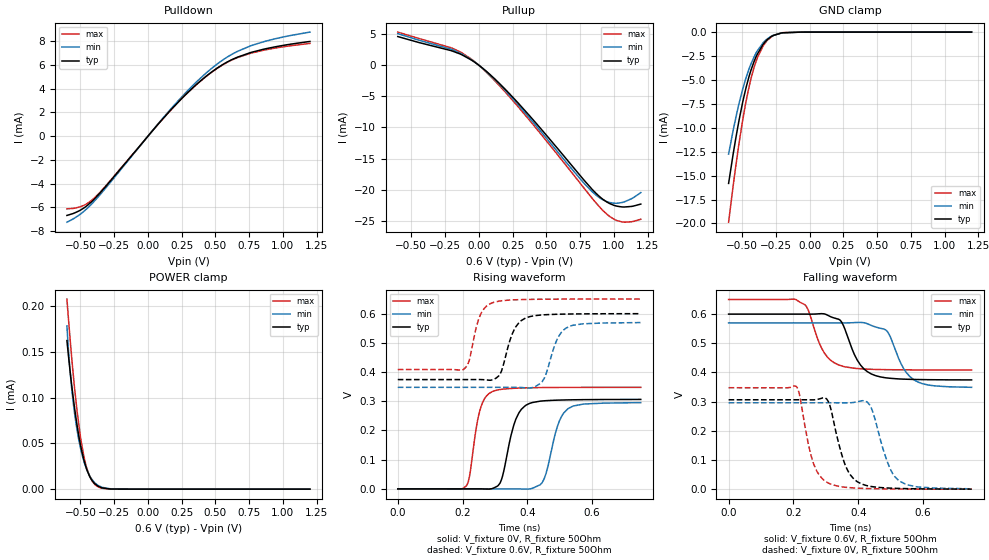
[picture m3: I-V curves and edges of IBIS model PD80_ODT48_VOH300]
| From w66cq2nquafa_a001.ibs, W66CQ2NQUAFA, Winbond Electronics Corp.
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[Model]   PD80_ODT48_VOH300
Model_type   I/O
Polarity   Non-Inverting
Enable   Active-Low
Vinl = 0.08
Vinh = 0.22
Vmeas = 0.15
Vref = 0
Cref = 0pF
Rref = 48
|   typ   min   max
C_comp   0.85pF   0.80pF   0.90pF
[Voltage Range]   0.6   0.57   0.65
[Temperature Range]   25   95   -40
[Pullup Reference]   0.6   0.57   0.65
[Pulldown Reference]   0   0   0
[Power Clamp Reference]   0.6   0.57   0.65
[GND Clamp Reference]   0   0   0
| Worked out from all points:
|   slope of the pulldown table from 0 to 0.09 V, typ, clamps not added: 74.8 ohm
|   slope of the pullup table from 0 to 0.09 V, typ, clamps not added: 55 ohm
|   GND clamp passes 1 mA (typ) near -0.33 V on its own axis
|   falling waveform, V_fixture 0.6V, R_fixture 50Ohm: 20-80 % time 55.2ps typ, 56.1ps min, 52.4ps max; typ from 0.6 V to 0.374 V
|   rising waveform, V_fixture 0V, R_fixture 50Ohm: 20-80 % time 40ps typ, 41.2ps min, 30.8ps max; typ from 0 V to 0.306 V
|   rising waveform, V_fixture 0.6V, R_fixture 50Ohm: 20-80 % time 39.7ps typ, 41.2ps min, 33.2ps max; typ from 0.374 V to 0.6 V
|   falling waveform, V_fixture 0V, R_fixture 50Ohm: 20-80 % time 47.1ps typ, 50.4ps min, 42.8ps max; typ from 0.306 V to 0 V
[Pulldown]
|   Voltage   I(typ)   I(min)   I(max)
-600mV    -6.681mA   -7.249mA   -6.124mA
-498.6mV  -6.224mA   -6.554mA   -5.941mA
-455.7mV  -5.898mA   -6.147mA   -5.716mA
-409.8mV  -5.443mA   -5.632mA   -5.34mA
-308.7mV  -4.187mA   -4.317mA   -4.144mA
164.4mV   2.151mA    2.228mA    2.146mA
349.7mV   4.264mA    4.464mA    4.249mA
510.4mV   5.722mA    6.063mA    5.699mA
624mV     6.466mA    6.917mA    6.435mA
770.3mV   7.081mA    7.655mA    7.02mA
949.3mV   7.549mA    8.23mA     7.442mA
1.2V      7.988mA    8.776mA    7.822mA
[GND Clamp]
|   Voltage   I(typ)   I(min)   I(max)
-600mV    -15.82mA   -12.76mA   -19.87mA
-565.2mV  -12.66mA   -10.21mA   -15.96mA
-524.6mV  -9.371mA   -7.583mA   -11.81mA
-473.9mV  -5.996mA   -4.913mA   -7.467mA
-449mV    -4.666mA   -3.855mA   -5.765mA
-410.2mV  -3.035mA   -2.568mA   -3.634mA
-387.6mV  -2.319mA   -1.968mA   -2.709mA
-343.9mV  -1.268mA   -1.107mA   -1.434mA
-283.8mV  -462.6uA   -439.3uA   -505.2uA
-196.3mV  -71.43uA   -76.95uA   -56.38uA
-59.4mV   -1.298uA   -3.063uA   -449.8nA
1.2V      0A         0A         0A
[Pullup]
|   Voltage   I(typ)   I(min)   I(max)
-600mV    4.593mA    5.058mA    5.311mA
-196.3mV  2.267mA    2.494mA    2.725mA
-125.2mV  1.663mA    1.801mA    1.98mA
5.8mV     -98.45uA   -101.7uA   -111.5uA
129.6mV   -2.442mA   -2.557mA   -2.752mA
280.1mV   -5.807mA   -6.072mA   -6.392mA
774.8mV   -18.35mA   -18.86mA   -19.61mA
900.2mV   -21.22mA   -21.38mA   -22.91mA
969.1mV   -22.22mA   -22.06mA   -24.29mA
1.027V    -22.66mA   -22.17mA   -24.99mA
1.13V     -22.7mA    -21.47mA   -25.16mA
1.2V      -22.32mA   -20.48mA   -24.75mA
[POWER Clamp]
|   Voltage   I(typ)   I(min)   I(max)
-600mV    162.4uA    178.3uA    207.7uA
-579.8mV  133.5uA    134.9uA    169.9uA
-553.8mV  100.5uA    95.22uA    126.4uA
-526.5mV  71.34uA    65.75uA    87.33uA
-498.6mV  47.63uA    44.38uA    55.86uA
-474.6mV  32.03uA    30.5uA     35.75uA
-455.7mV  22.7uA     22.47uA    24.16uA
-433mV    14.43uA    15.09uA    14.4uA
-388.1mV  5.339uA    6.215uA    4.414uA
-342.6mV  1.524uA    2.204uA    1.039uA
-265.9mV  133.1nA    307.6nA    17.36nA
1.2V      0A         0A         0A
[Ramp]
R_load = 50
|   typ   min   max
dV/dt_r 1.8378E-01/3.9750E-11   1.7722E-01/4.1177E-11   2.0862E-01/3.0779E-11
dV/dt_f 1.3532E-01/5.4986E-11   1.3256E-01/5.5944E-11   1.4483E-01/5.2244E-11
[Falling Waveform]
V_fixture = 0.6V
V_fixture_min = 0.57V
V_fixture_max = 0.65V
R_fixture = 50Ohm
C_fixture = 0F
|   Time   V(typ)   V(min)   V(max)
0s        600mV      570mV      650mV
234ps     600mV      570mV      633.2mV
287ps     601.6mV    570mV      483.5mV
340ps     582.3mV    570mV      425.7mV
397ps     442.6mV    571.4mV    413.6mV
421ps     409.3mV    569.9mV    411.7mV
487ps     381.4mV    543.8mV    409.6mV
540ps     377.2mV    413.9mV    409mV
573ps     376.1mV    374.1mV    408.8mV
750ps     374.5mV    349.1mV    408.6mV
[Rising Waveform]
V_fixture = 0V
V_fixture_min = 0V
V_fixture_max = 0V
R_fixture = 50Ohm
C_fixture = 0F
|   Time   V(typ)   V(min)   V(max)
0s        6.127uV    20.22uV    1.206uV
211ps     5.83uV     20.23uV    9.732mV
253ps     14.01uV    20.29uV    267mV
296ps     3.077mV    19.97uV    335.1mV
320ps     31.35mV    25.38uV    340.9mV
364ps     237.4mV    2.16uV     344.7mV
397ps     287.5mV    -745.2uV   346mV
446ps     301.1mV    21.93mV    346.9mV
525ps     304.8mV    274.3mV    347.5mV
750ps     306.3mV    295.4mV    347.7mV
[Rising Waveform]
V_fixture = 0.6V
V_fixture_min = 0.57V
V_fixture_max = 0.65V
R_fixture = 50Ohm
C_fixture = 0F
|   Time   V(typ)   V(min)   V(max)
0s        374.3mV    347.8mV    408.6mV
202ps     374.3mV    347.8mV    408.4mV
256ps     374.4mV    347.8mV    598.3mV
296ps     374.7mV    347.8mV    638.8mV
320ps     403.1mV    347.8mV    644mV
359ps     544.4mV    347.9mV    647.3mV
396ps     585.6mV    345.8mV    648.6mV
446ps     595.6mV    367.7mV    649.4mV
521ps     598.6mV    551.5mV    649.9mV
750ps     599.9mV    569.5mV    650mV
[Falling Waveform]
|Gnd
V_fixture = 0V
V_fixture_min = 0V
V_fixture_max = 0V
R_fixture = 50Ohm
C_fixture = 0F
|   Time   V(typ)   V(min)   V(max)
0s        306.4mV    296.1mV    347.7mV
208ps     306.4mV    296.1mV    352.9mV
261ps     306.1mV    296.1mV    91.24mV
315ps     277.2mV    296.1mV    17.33mV
359ps     85.27mV    295.8mV    6.68mV
397ps     25.68mV    299.7mV    3.488mV
435ps     10.27mV    289.3mV    1.906mV
492ps     3.924mV    87.76mV    752uV
526ps     2.462mV    28.55mV    430.9uV
750ps     143.4uV    1.13mV     -15.85uV
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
